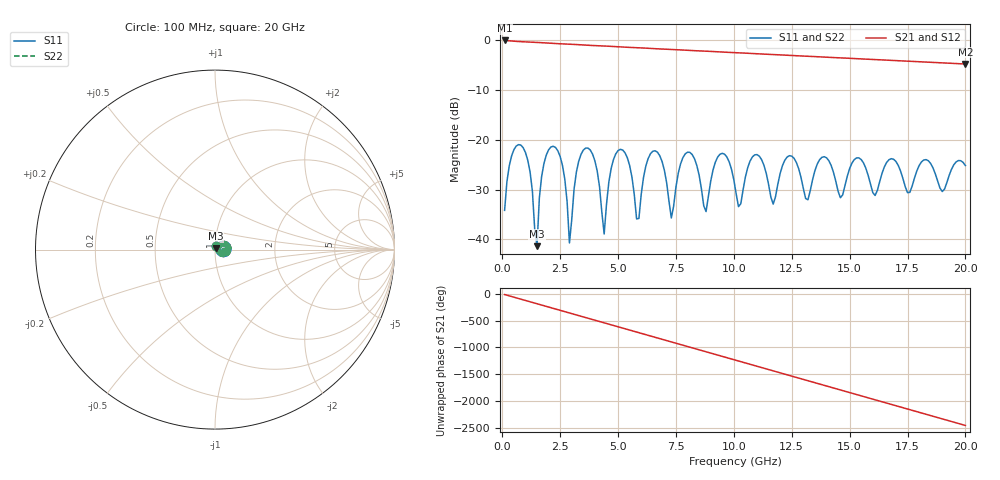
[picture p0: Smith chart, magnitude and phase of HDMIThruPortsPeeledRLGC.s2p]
! File created by SignalIntegrity v1.1.4: Signal and Power Integrity Tools
! https://github.com/TeledyneLeCroy/SignalIntegrity
# MHz MA S R 50.0
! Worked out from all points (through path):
!   200 points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, 100 MHz to 20 GHz, reference 50 ohm
!   highest |S21| = -0.09 dB at 100 MHz (marker M1); lowest = -4.8 dB at 20 GHz (marker M2)
!   group delay of S21, straight-line fit = 342 ps
!   lowest |S11| = -41.3 dB at 1.5 GHz (marker M3), VSWR 1.02, Z = 50.5 + j0.716 ohm
!   |S11| at or under -10 dB: start of sweep to end of sweep
!   |S22| runs from -41.3 to -21.0 dB; largest |S21 - S12| = 0
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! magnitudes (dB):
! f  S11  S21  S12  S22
! 100 MHz  -34.2  -0.1  -0.1  -34.2
! 900 MHz  -21.6  -0.4  -0.4  -21.6
! 1.5 GHz  -41.3  -0.5  -0.5  -41.3
! 2 GHz  -22.0  -0.6  -0.6  -22.0
! 2.6 GHz  -25.2  -0.8  -0.8  -25.2
! 2.9 GHz  -40.7  -0.8  -0.8  -40.7
! 3.5 GHz  -22.1  -1.0  -1.0  -22.1
! 4 GHz  -24.2  -1.1  -1.1  -24.2
! 4.4 GHz  -38.9  -1.2  -1.2  -38.9
! 5 GHz  -22.2  -1.4  -1.4  -22.2
! 5.8 GHz  -35.9  -1.5  -1.5  -35.9
! 6.8 GHz  -23.2  -1.8  -1.8  -23.2
! 7.3 GHz  -35.7  -1.9  -1.9  -35.7
! 8 GHz  -22.5  -2.1  -2.1  -22.5
! 8.8 GHz  -34.4  -2.2  -2.2  -34.4
! 9.4 GHz  -22.9  -2.4  -2.4  -22.9
! 10.1 GHz  -30.8  -2.5  -2.5  -30.8
! 10.9 GHz  -23.0  -2.7  -2.7  -23.0
! 11.7 GHz  -32.9  -2.9  -2.9  -32.9
! 13.4 GHz  -28.0  -3.3  -3.3  -28.0
! 16.7 GHz  -24.0  -4.1  -4.1  -24.0
! 20 GHz  -25.2  -4.8  -4.8  -25.2
